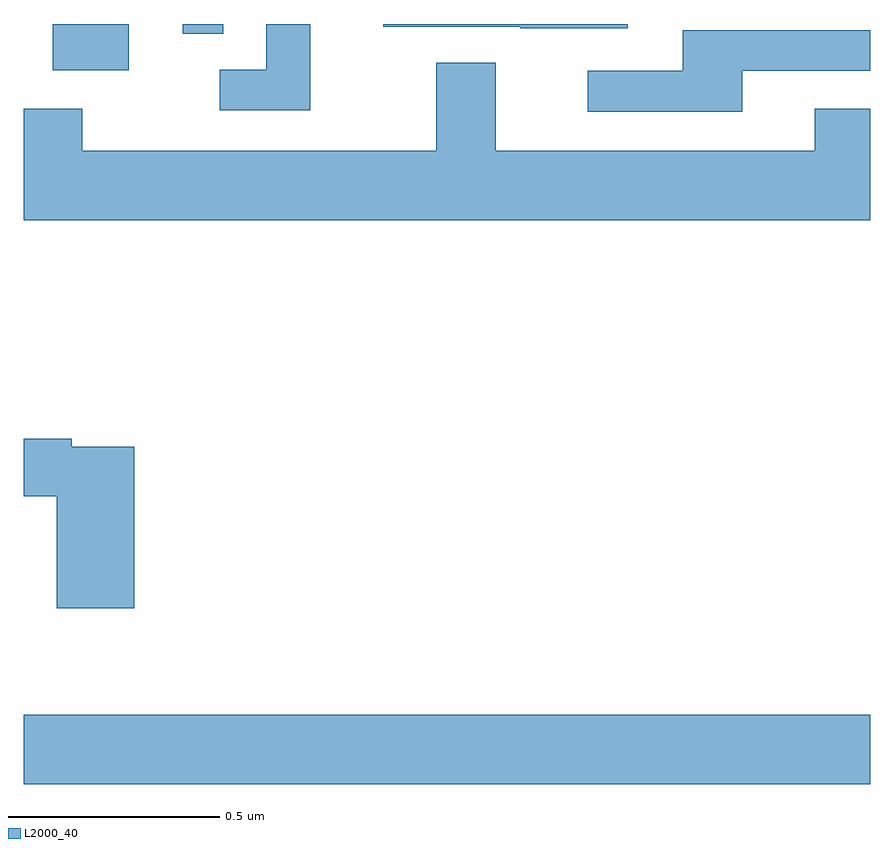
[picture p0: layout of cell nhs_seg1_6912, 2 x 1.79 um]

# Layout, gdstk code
import gdstk
lib = gdstk.Library(unit=1e-6, precision=1e-09)
def R(c, l, rs):  # rectangles x0, y0, x1, y1
    for r in rs: c.add(gdstk.rectangle(r[:2], r[2:], *l))
def P(c, l, *ps):  # polygons
    for p in ps: c.add(gdstk.Polygon(p, *l))
L2000_40 = (2000, 40)

nhs_seg1_6912 = lib.new_cell('nhs_seg1_6912')
R(nhs_seg1_6912, L2000_40, [(197,546.404,199,546.568), (197.069,548.09,197.248,548.199), (197.376,548.176,197.472,548.199)])
P(nhs_seg1_6912, L2000_40, [(198.427,548.199),(197.849,548.199),(197.849,548.193),(198.173,548.193),(198.173,548.189),(198.427,548.189)],
  [(197.677,548.199),(197.573,548.199),(197.573,548.091),(197.463,548.091),(197.463,547.995),(197.677,547.995)],
  [(198.697,548.088),(199,548.088),(199,548.184),(198.557,548.184),(198.557,548.088),(198.333,548.088),(198.333,547.992),(198.697,547.992)],
  [(199,547.999),(198.869,547.999),(198.869,547.9),(198.115,547.9),(198.115,548.108),(197.975,548.108),(197.975,547.9),(197.139,547.9),(197.139,547.999),(197,547.999),(197,547.736),(199,547.736)],
  [(197.261,547.2),(197.114,547.2),(197.114,547.22),(197,547.22),(197,547.084),(197.078,547.084),(197.078,546.819),(197.261,546.819)])

lib.write_gds('nhs_seg1_6912.gds')
